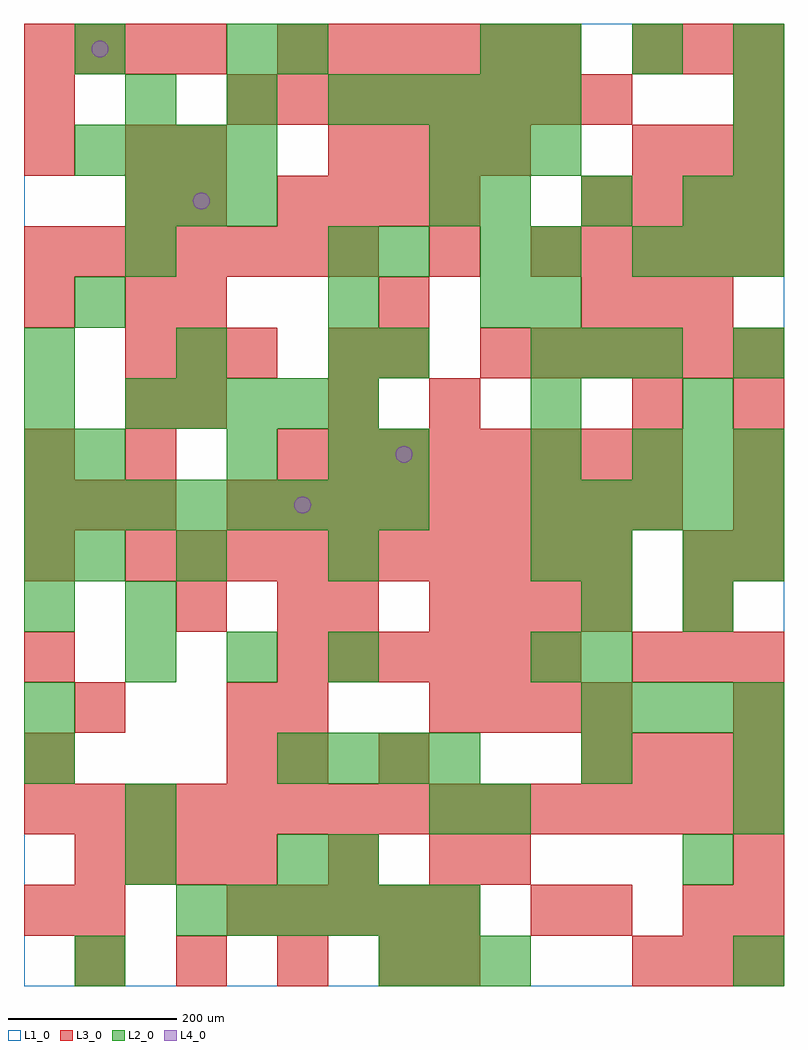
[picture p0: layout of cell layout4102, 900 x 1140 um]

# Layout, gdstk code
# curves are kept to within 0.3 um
import gdstk
lib = gdstk.Library(unit=1e-6, precision=1e-09)
def R(c, l, rs):  # rectangles x0, y0, x1, y1
    for r in rs: c.add(gdstk.rectangle(r[:2], r[2:], *l))
def A(c, l, x, y, w, h, nx, ny, dx, dy):  # array of equal rectangles
    R(c, l, [(x+i*dx, y+j*dy, x+i*dx+w, y+j*dy+h) for i in range(nx) for j in range(ny)])
def P(c, l, *ps):  # polygons
    for p in ps: c.add(gdstk.Polygon(p, *l))
L1_0 = (1, 0)
L2_0 = (2, 0)
L3_0 = (3, 0)
L4_0 = (4, 0)

layout4102 = lib.new_cell('layout4102')
R(layout4102, L1_0, [(0,0,900,1140)])
A(layout4102, L2_0, 420, 0, 60, 60, 3, 1, 60, 0)
A(layout4102, L2_0, 180, 60, 60, 60, 6, 1, 60, 0)
A(layout4102, L2_0, 300, 240, 60, 60, 4, 1, 60, 0)
A(layout4102, L2_0, 840, 240, 60, 60, 1, 3, 0, 240)
A(layout4102, L2_0, 660, 300, 60, 60, 4, 1, 60, 0)
A(layout4102, L2_0, 120, 360, 60, 60, 3, 2, 120, 660)
A(layout4102, L2_0, 600, 360, 60, 60, 1, 3, 0, 120)
A(layout4102, L2_0, 660, 360, 60, 60, 1, 3, 0, 60)
A(layout4102, L2_0, 0, 540, 60, 60, 8, 1, 60, 0)
A(layout4102, L2_0, 600, 540, 60, 60, 5, 1, 60, 0)
A(layout4102, L2_0, 420, 600, 60, 60, 1, 3, 0, 120)
A(layout4102, L2_0, 720, 600, 60, 60, 3, 2, 60, 240)
A(layout4102, L2_0, 120, 660, 60, 60, 5, 1, 60, 0)
A(layout4102, L2_0, 0, 720, 60, 60, 3, 1, 180, 0)
A(layout4102, L2_0, 600, 720, 60, 60, 3, 1, 60, 0)
A(layout4102, L2_0, 120, 900, 60, 60, 3, 1, 60, 0)
A(layout4102, L2_0, 540, 900, 60, 60, 3, 1, 120, 0)
A(layout4102, L2_0, 840, 900, 60, 60, 1, 3, 0, 60)
A(layout4102, L2_0, 60, 960, 60, 60, 4, 1, 60, 0)
A(layout4102, L2_0, 480, 960, 60, 60, 3, 1, 60, 0)
A(layout4102, L2_0, 420, 1020, 60, 60, 4, 1, 60, 0)
A(layout4102, L2_0, 600, 1080, 60, 60, 3, 1, 120, 0)
R(layout4102, L2_0, [(60,0,120,60), (840,0,900,60), (120,120,180,180), (300,120,360,180), (360,120,420,180), (780,120,840,180), (120,180,180,240), (480,180,540,240), (540,180,600,240), (840,180,900,240), (0,240,60,300), (660,240,720,300), (0,300,60,360), (0,420,60,480), (120,420,180,480), (780,420,840,480), (0,480,60,540), (60,480,120,540), (180,480,240,540), (360,480,420,540), (780,480,840,540), (0,600,60,660), (60,600,120,660), (240,600,300,660), (360,600,420,660), (0,660,60,720), (600,660,660,720), (780,660,840,720), (60,780,120,840), (360,780,420,840), (540,780,600,840), (600,780,660,840), (120,840,180,900), (360,840,420,900), (540,840,600,900), (600,840,660,900), (480,900,540,960), (60,1080,120,1140), (240,1080,300,1140), (300,1080,360,1140), (540,1080,600,1140)])
A(layout4102, L3_0, 60, 0, 60, 60, 4, 1, 120, 0)
A(layout4102, L3_0, 720, 0, 60, 60, 3, 2, 60, 360)
A(layout4102, L3_0, 240, 60, 60, 60, 5, 1, 60, 0)
A(layout4102, L3_0, 60, 120, 60, 60, 4, 1, 60, 0)
A(layout4102, L3_0, 840, 120, 60, 60, 1, 3, 0, 180)
A(layout4102, L3_0, 0, 180, 60, 60, 15, 1, 60, 0)
A(layout4102, L3_0, 0, 240, 60, 60, 1, 4, 0, 120)
A(layout4102, L3_0, 660, 240, 60, 60, 4, 2, 60, 660)
A(layout4102, L3_0, 480, 300, 60, 60, 4, 2, 60, 120)
A(layout4102, L3_0, 300, 360, 60, 60, 6, 2, 60, 720)
A(layout4102, L3_0, 180, 420, 60, 60, 1, 3, 0, 240)
A(layout4102, L3_0, 120, 480, 60, 60, 10, 1, 60, 0)
A(layout4102, L3_0, 0, 540, 60, 60, 3, 1, 60, 0)
A(layout4102, L3_0, 240, 540, 60, 60, 9, 1, 60, 0)
A(layout4102, L3_0, 840, 540, 60, 60, 1, 3, 0, 60)
A(layout4102, L3_0, 300, 600, 60, 60, 8, 1, 60, 0)
A(layout4102, L3_0, 120, 660, 60, 60, 1, 3, 0, 120)
A(layout4102, L3_0, 120, 720, 60, 60, 3, 1, 60, 0)
A(layout4102, L3_0, 540, 720, 60, 60, 6, 1, 60, 0)
A(layout4102, L3_0, 180, 780, 60, 60, 3, 1, 240, 0)
A(layout4102, L3_0, 0, 840, 60, 60, 7, 1, 60, 0)
A(layout4102, L3_0, 600, 840, 60, 60, 5, 1, 60, 0)
A(layout4102, L3_0, 300, 900, 60, 60, 4, 1, 60, 0)
A(layout4102, L3_0, 360, 960, 60, 60, 4, 1, 60, 0)
A(layout4102, L3_0, 720, 960, 60, 60, 3, 2, 60, 120)
A(layout4102, L3_0, 240, 1020, 60, 60, 8, 1, 60, 0)
A(layout4102, L3_0, 0, 1080, 60, 60, 4, 1, 60, 0)
R(layout4102, L3_0, [(480,0,540,60), (0,60,60,120), (60,60,120,120), (600,60,660,120), (660,60,720,120), (780,60,840,120), (840,60,900,120), (360,120,420,180), (480,120,540,180), (540,120,600,180), (240,240,300,300), (300,240,360,300), (420,240,480,300), (60,300,120,360), (240,300,300,360), (300,300,360,360), (300,420,360,480), (360,420,420,480), (780,420,840,480), (780,480,840,540), (120,600,180,660), (360,660,420,720), (480,660,540,720), (720,660,780,720), (360,720,420,780), (420,720,480,780), (0,780,60,840), (720,780,780,840), (780,780,840,840), (480,840,540,900), (0,960,60,1020), (120,960,180,1020), (180,960,240,1020), (0,1020,60,1080), (840,1020,900,1080)])
P(layout4102, L4_0, [(100,1110),(99.239,1113.827),(97.071,1117.071),(93.827,1119.239),(90,1120),(86.173,1119.239),(82.929,1117.071),(80.761,1113.827),(80,1110),(80.761,1106.173),(82.929,1102.929),(86.173,1100.761),(90,1100),(93.827,1100.761),(97.071,1102.929),(99.239,1106.173)],
  [(220,930),(219.239,933.827),(217.071,937.071),(213.827,939.239),(210,940),(206.173,939.239),(202.929,937.071),(200.761,933.827),(200,930),(200.761,926.173),(202.929,922.929),(206.173,920.761),(210,920),(213.827,920.761),(217.071,922.929),(219.239,926.173)],
  [(340,570),(339.239,573.827),(337.071,577.071),(333.827,579.239),(330,580),(326.173,579.239),(322.929,577.071),(320.761,573.827),(320,570),(320.761,566.173),(322.929,562.929),(326.173,560.761),(330,560),(333.827,560.761),(337.071,562.929),(339.239,566.173)],
  [(460,630),(459.239,633.827),(457.071,637.071),(453.827,639.239),(450,640),(446.173,639.239),(442.929,637.071),(440.761,633.827),(440,630),(440.761,626.173),(442.929,622.929),(446.173,620.761),(450,620),(453.827,620.761),(457.071,622.929),(459.239,626.173)])

lib.write_gds('layout4102.gds')
